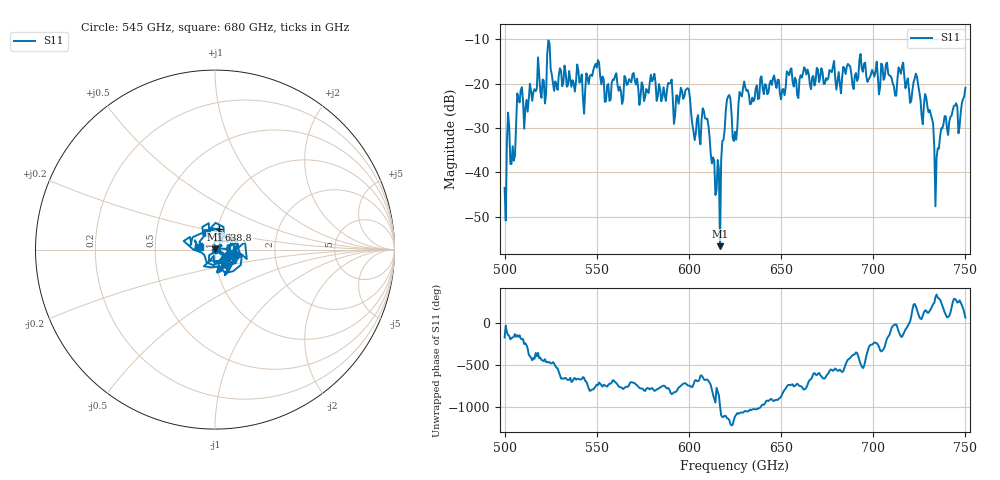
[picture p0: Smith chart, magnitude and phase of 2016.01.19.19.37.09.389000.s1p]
!Created with skrf (http://scikit-rf.org).
# GHz S RI R 50.0
!freq ReS11 ImS11
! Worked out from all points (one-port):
!   401 points, 500 GHz to 750 GHz, reference 50 ohm
!   lowest |S11| = -56.6 dB at 616.9 GHz (marker M1), VSWR 1.00, Z = 50 + j0.147 ohm
!   |S11| at or under -10 dB: start of sweep to end of sweep
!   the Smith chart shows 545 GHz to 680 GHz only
!   S11 on the Smith chart (normalised r, x): 545 GHz: 1.25, -0.08; 638.8 GHz: 1.02, +0.23; 680 GHz: 0.84, +0.02
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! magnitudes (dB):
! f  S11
! 500 GHz  -43.5
! 502.5 GHz  -29.7
! 504.4 GHz  -34.1
! 508.1 GHz  -24.2
! 521.2 GHz  -19.3
! 524.4 GHz  -10.9
! 527.5 GHz  -19.5
! 531.2 GHz  -20.6
! 545 GHz  -18.7
! 562.5 GHz  -20.7
! 593.8 GHz  -22.6
! 599.4 GHz  -21.0
! 603.1 GHz  -32.7
! 608.8 GHz  -27.8
! 615.6 GHz  -37.2
! 616.9 GHz  -56.6
! 621.2 GHz  -22.9
! 625 GHz  -30.8
! 628.8 GHz  -22.9
! 638.8 GHz  -18.8
! 656.2 GHz  -19.6
! 680 GHz  -21.3
! 687.5 GHz  -16.1
! 718.8 GHz  -18.8
! 729.4 GHz  -25.1
! 734.4 GHz  -36.6
! 738.1 GHz  -29.0
! 750 GHz  -20.9
